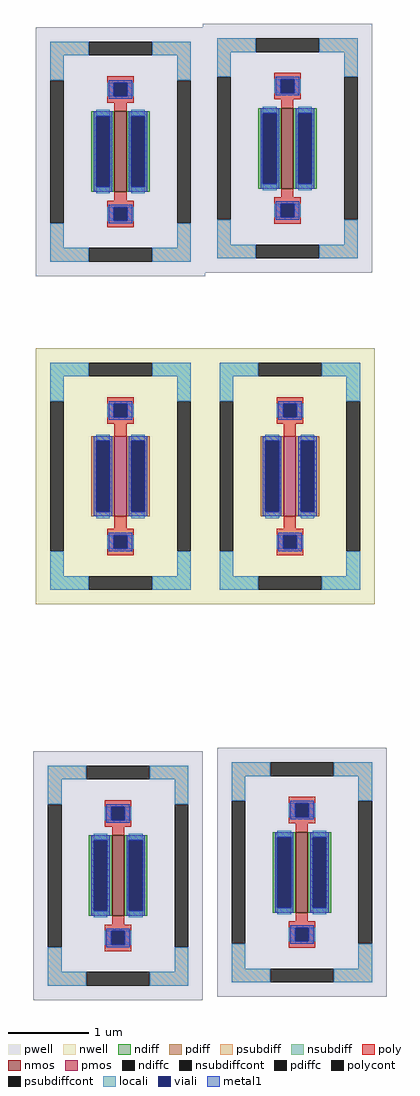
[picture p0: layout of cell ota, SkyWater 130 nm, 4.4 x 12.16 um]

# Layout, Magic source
magic
tech sky130A
magscale 1 2
use sky130_fd_pr__nfet_01v8_BZQWLS  XM1
transform 1 0 851 0 1 198
box -211 -310 211 310
use sky130_fd_pr__nfet_01v8_BZQWLS  XM2
transform 1 0 1267 0 1 206
box -211 -310 211 310
use sky130_fd_pr__nfet_01v8_BZQWLS  XM3
transform 1 0 1303 0 1 -1598
box -211 -310 211 310
use sky130_fd_pr__nfet_01v8_BZQWLS  XM4
transform 1 0 845 0 1 -1606
box -211 -310 211 310
use sky130_fd_pr__pfet_01v8_8LSETJ  XM5
transform 1 0 851 0 1 -611
box -211 -319 211 319
use sky130_fd_pr__pfet_01v8_8LSETJ  XM6
transform 1 0 1273 0 1 -611
box -211 -319 211 319
<< end >>

# cell sky130_fd_pr__nfet_01v8_BZQWLS: kit device sky130_fd_pr__nfet_01v8, w 1.0 l 0.15 m 1 nf 1 diffcov 100 polycov 100 guard 1 glc 1 grc 1 gtc 1 gbc 1 tbcov 100 rlcov 100 topc 1 botc 1 poverlap 0 doverlap 1 lmin 0.15 wmin 0.42 class mosfet compatible {sky130_fd_pr__nfet_01v8 sky130_fd_pr__nfet_01v8_lvt sky130_fd_bs_flash__special_sonosfet_star sky130_fd_pr__nfet_g5v0d10v5 sky130_fd_pr__nfet_05v0_nvt sky130_fd_pr__nfet_03v3_nvt} full_metal 1 viasrc 100 viadrn 100 viagate 100 viagb 0 viagr 0 viagl 0 viagt 0 doports 1 ad 0.29 as 0.29 pd 2.58 ps 2.58 nrd 0.29 nrs 0.29 sa 0 sb 0 sd 0 mult 1

# cell sky130_fd_pr__pfet_01v8_8LSETJ: kit device sky130_fd_pr__pfet_01v8, w 1.0 l 0.15 m 1 nf 1 diffcov 100 polycov 100 guard 1 glc 1 grc 1 gtc 1 gbc 1 tbcov 100 rlcov 100 topc 1 botc 1 poverlap 0 doverlap 1 lmin 0.15 wmin 0.42 class mosfet compatible {sky130_fd_pr__pfet_01v8 sky130_fd_pr__pfet_01v8_lvt sky130_fd_pr__pfet_01v8_hvt sky130_fd_pr__pfet_g5v0d10v5} full_metal 1 viasrc 100 viadrn 100 viagate 100 viagb 0 viagr 0 viagl 0 viagt 0 doports 1 ad 0.29 as 0.29 pd 2.58 ps 2.58 nrd 0.29 nrs 0.29 sa 0 sb 0 sd 0 mult 1
